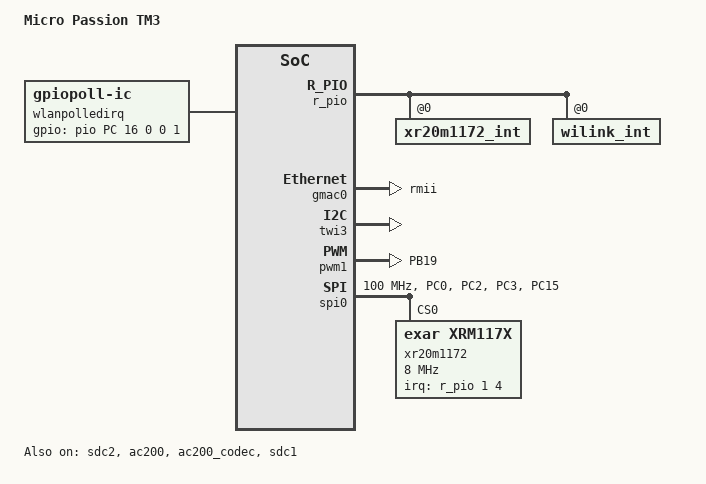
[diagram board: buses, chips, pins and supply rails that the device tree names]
/*
 * Allwinner Technology CO., Ltd. sun50iw6p1 soc board.
 *
 * soc board support.
 */

#include "sun50iw6p1.dtsi"

/ {
	model = "Micro Passion TM3";


	//kim {
	//        compatible = "kim";
	//        nshutdown_gpio = <508>;  // GPIO4_27 The wl8 driver expects gpio to be an integer, so gpio4_27 is (4-1)*32+27=123
	//        dev_name = "/dev/ttyXRM0";
	//        flow_cntrl = <1>;
	//        baud_rate = <3000000>;
	//};

    /* this creates a devce tree entry only for the benefit of Bleutopia stack */
	//tibt {
	//        nshutdown_gpio = <508>;  // GPIO4_27 The wl8 driver expects gpio to be an integer, so gpio4_27 is (4-1)*32+27=123
	//        dev_name = "/dev/ttyXRM0";
	//        flow_cntrl = <1>;
	//        baud_rate = <3000000>;
	//};

	//btwilink {
	//        compatible = "btwilink";
	//};

	/* this creates a devce tree entry only for the benefit of Bleutopia stack */
	//tibt {
	//        nshutdown_gpio = <508>;  // GPIO4_27 The wl8 driver expects gpio to be an integer, so gpio4_27 is (4-1)*32+27=123
	//        dev_name = "/dev/ttyXRM0";
	//        flow_cntrl = <1>;
	//        baud_rate = <3000000>;
	//};

	tm3regulators {
		compatible = "simple-bus";
		#address-cells = <1>;
		#size-cells = <0>;
		
		
		//wlan_en_reg: wlanenreg {
		//	compatible = "regulator-fixed";
		//	reg = <0>;
		//	regulator-name = "wlan-en-regulator";
		//	regulator-min-microvolt = <1800000>;
		//	regulator-max-microvolt = <1800000>;
		//	/* WLAN_EN GPIO for this board - Bank5, pin2 */
		//	//enable-gpio = <&xr20m1172 5 0>;
		//	gpio = <&xr20m1172 5 GPIO_ACTIVE_HIGH>; //XR UART GPIO 5
		//	enable-active-high;
		//};
		
	};

	wlanpolledirq: polledgpioirq 
	{
		compatible = "gpiopoll-ic";
		interrupt-controller;
		#interrupt-cells = <2>;
		gpio = <&pio PC 16 0 0 1 0>;
	};

};

&pio{

	pinctrl-names = "default", "sleep";
	pinctrl-0 = <&pinctrl_hog_hostboard>;
	//pinctrl-1 = <&pinctrl_hog_sleep &pinctrl_hog_hostboard_sleep>;
		
	hog {
		pinctrl_hog: hoggrp {
			
		};

		pinctrl_hog_hostboard: hoggrphostboard {
			
		};

		pinctrl_hog_sleep: hoggrpslp {
			
		};

		pinctrl_hog_hostboard_sleep: hoggrphostboardslp {
			
		};
	};

	pwm1_pins_0: pwm1@0 {
		allwinner,pins = "PB19";
		allwinner,function = "pwm1";
		allwinner,pname = "pwm_positive";
		allwinner,muxsel = <0x2>;
		allwinner,pull = <0x0>;
		allwinner,drive = <0xffffffff>;
		allwinner,data = <0xffffffff>;
	};

	pwm1_pins_1: pwm1@1 {
		allwinner,pins = "PB19";
		allwinner,function = "pwm1";
		allwinner,pname = "pwm_positive";
		allwinner,muxsel = <0x7>;
		allwinner,pull = <0x0>;
		allwinner,drive = <0xffffffff>;
		allwinner,data = <0xffffffff>;
	};

	spi0_pins_a: spi0@0 {
		allwinner,pins = "PC0", "PC2", "PC3";
		allwinner,pname = "spi0_sclk", "spi0_mosi", "spi0_miso";
		allwinner,function = "spi0";
		allwinner,muxsel = <4>;
		allwinner,drive = <1>;
		allwinner,pull = <0>;
	};

	spi0_pins_b: spi0@1 {
		allwinner,pins = "PC15";
		allwinner,pname = "spi0_cs0";
		allwinner,function = "spi0";
		allwinner,muxsel = <0>;
		allwinner,drive = <1>;
		allwinner,pull = <1>;	// only CS should be pulled up
	};

	spi0_pins_c: spi0@2 {
		allwinner,pins = "PC0", "PC2", "PC3", "PC15";
		allwinner,function = "io_disabled";
		allwinner,muxsel = <7>;
		allwinner,drive = <1>;
		allwinner,pull = <0>;
	};

	sdc1_pins_a: sdc1@0 {
		allwinner,pins = "PG0", "PG1", "PG2",
					"PG3", "PG4", "PG5";
		allwinner,function = "sdc1";
		allwinner,muxsel = <2>;
		allwinner,drive = <3>;
		allwinner,pull = <1>;
	};

	sdc1_pins_b: sdc1@1 {
		allwinner,pins = "PG0", "PG1", "PG2",
					"PG3", "PG4", "PG5";
		allwinner,function = "io_disabled";
		allwinner,muxsel = <7>;
		allwinner,drive = <1>;
		allwinner,pull = <1>;
	};
};


&r_pio{
	pinctrl-names = "default", "sleep";
	pinctrl-0 = <&rpio_pinctrl_hog_hostboard>;
	//pinctrl-1 = <&pinctrl_hog_sleep &pinctrl_hog_hostboard_sleep>;
		
	hog {
		rpiopinctrl_hog: rpiohoggrp {
			
		};

		rpio_pinctrl_hog_hostboard: rpiohoggrphostboard {
			
		};

	};
	xr20m1172_int: xr20m1172_int@0 
	{
		allwinner,pins = "PM4";
		allwinner,function = "irq";
		allwinner,muxsel = <0x6>;
		allwinner,drive = <0xffffffff>;
		allwinner,pull = <0xffffffff>;
	};


	wilink_int: wilink_int@0 
	{
		allwinner,pins = "PM3";
		allwinner,function = "irq";
		allwinner,muxsel = <0x6>;
		allwinner,drive = <0xffffffff>;
		allwinner,pull = <0xffffffff>;
	};
	

};



&soc{
	card0_boot_para {
		device_type = "card0_boot_para";
		card_ctrl = <0x0>;
		card_high_speed = <0x1>;
		card_line = <0x4>;
		pinctrl-0 = <&sdc0_pins_a>;
	};


	card2_boot_para {
		device_type = "card2_boot_para";
		card_ctrl = <0x2>;
		card_high_speed = <0x1>;
		card_line = <0x8>;
		pinctrl-0 = <&sdc2_pins_a>;
		sdc_ex_dly_used = <0x2>;
		sdc_io_1v8 = <0x1>;
		sdc_tm4_hs400_max_freq = <0xC8>;
		sdc_tm4_hs200_max_freq = <0x96>;
	};

	product {
		device_type = "product";
		version = "100";
		machine = "petrel-p1";
	};

	platform {
		device_type = "platform";
		eraseflag = <0x1>;
	};

	target {
		device_type = "target";
		boot_clock = <0x528>;
		storage_type = <0xffffffff>;
		burn_key = <0x0>;
		dragonboard_test = <0x0>;
		power_mode = <0x0>;
		advert_enable = <0x0>;
	};

	secure {
		device_type = "secure";
		dram_region_mbytes = <0x50>;
		drm_region_mbytes = <0x0>;
		drm_region_start_mbytes = <0x0>;
	};

	power_sply {
		device_type = "power_sply";
		dcdca_vol = <0xf4628>;
		aldo2_vol = <0xf4f24>;
		cldo2_vol = <0xce4>;
		cldo3_vol = <0xce4>;
		bldo3_vol = <0x3F2>;
		bldo4_vol = <0xf4948>;
	};

	//gpio_bias {
	//		device_type = "gpio_bias";
	//		pc_bias = "axp806:bldo2:1800";
	//		pg_bias = "axp806:bldo3:1100";
	//	};

		ir_boot_recovery {
			device_type = "ir_boot_recovery";
			status = "disabled";
			ir_work_mode = <0x2>;
			ir_press_times = <0x2>;
			ir_detect_time = <0x7d0>;
			ir_key_no_duplicate = <0x0>;
			ir_recovery_key_code0 = <0x4>;
			ir_addr_code0 = <0xff00>;
			ir_recovery_key_code1 = <0x10>;
			ir_addr_code1 = <0xff00>;
		};

		card_boot {
			device_type = "card_boot";
			logical_start = <0xa000>;
			sprite_gpio0 = <0xd6 0xb 0x4 0x1 0xffffffff 0xffffffff 0x1>;
			next_work = <0x3>;
		};

		boot_init_gpio {
			device_type = "boot_init_gpio";
			status = "okay";
			gpio0 = <0xd6 0xb 0x4 0x1 0xffffffff 0xffffffff 0x0>;
			gpio1 = <0xd6 0xb 0x7 0x1 0xffffffff 0xffffffff 0x1>;
			gpio2 = <0x87 0x7 0x2 0x1 0xffffffff 0xffffffff 0x1>;
		};

		pm_para {
			device_type = "pm_para";
			standby_mode = <0x1>;
		};

		twi_para {
			device_type = "twi_para";
			twi_port = <0x0>;
			pinctrl-0 = <&s_twi0_pins_a>;
		};

		uart_para {
			device_type = "uart_para";
			uart_debug_port = <0x0>;
			pinctrl-0 = <&uart0_pins_a>;
		};

		clock {
			device_type = "clock";
			pll4 = <0x12c>;
			pll6 = <0x258>;
			pll8 = <0x168>;
			pll9 = <0x129>;
			pll10 = <0x108>;
		};

		tvout_para {
			device_type = "tvout_para";
			tvout_used;
			tvout_channel_num;
			tv_en;
		};

		tvin_para {
			device_type = "tvin_para";
			tvin_used;
			tvin_channel_num;
		};

		dvfs_table_0 {
			device_type = "dvfs_table_0";
			max_freq = <0x6b49d200>;
			min_freq = <0x1c9c3800>;
			lv_count = <0x8>;
			lv1_freq = <0x6b49d200>;
			lv1_volt = <0x488>;
			lv2_freq = <0x58b11400>;
			lv2_volt = <0x424>;
			lv3_freq = <0x4ead9a00>;
			lv3_volt = <0x3e8>;
			lv4_freq = "@_~";
			lv4_volt = <0x3ac>;
			lv5_freq = <0x34edce00>;
			lv5_volt = <0x370>;
			lv6_freq = <0x0>;
			lv6_volt = <0x370>;
			lv7_freq = <0x0>;
			lv7_volt = <0x370>;
			lv8_freq = <0x0>;
			lv8_volt = <0x370>;
		};

		dvfs_table_1 {
			device_type = "dvfs_table_1";
			max_freq = <0x6b49d200>;
			min_freq = <0x1c9c3800>;
			lv_count = <0x8>;
			lv1_freq = <0x6b49d200>;
			lv1_volt = <0x44c>;
			lv2_freq = <0x58b11400>;
			lv2_volt = <0x3e8>;
			lv3_freq = <0x4ead9a00>;
			lv3_volt = <0x3ac>;
			lv4_freq = "@_~";
			lv4_volt = <0x370>;
			lv5_freq = <0x34edce00>;
			lv5_volt = <0x334>;
			lv6_freq = <0x0>;
			lv6_volt = <0x334>;
			lv7_freq = <0x0>;
			lv7_volt = <0x334>;
			lv8_freq = <0x0>;
			lv8_volt = <0x334>;
		};

		dvfs_table_2 {
			device_type = "dvfs_table_2";
			max_freq = <0x6b49d200>;
			min_freq = <0x1c9c3800>;
			lv_count = <0x8>;
			lv1_freq = <0x6b49d200>;
			lv1_volt = <0x424>;
			lv2_freq = <0x58b11400>;
			lv2_volt = <0x3c0>;
			lv3_freq = <0x4ead9a00>;
			lv3_volt = <0x384>;
			lv4_freq = "@_~";
			lv4_volt = <0x348>;
			lv5_freq = <0x34edce00>;
			lv5_volt = <0x320>;
			lv6_freq = <0x0>;
			lv6_volt = <0x320>;
			lv7_freq = <0x0>;
			lv7_volt = <0x320>;
			lv8_freq = <0x0>;
			lv8_volt = <0x320>;
		};

		s_rsb0 {
			device_type = "s_rsb0";
			status = "disabled";
		};

		box_standby_led {
			device_type = "box_standby_led";
			gpio0 = <0xd6 0xb 0x7 0x1 0xffffffff 0xffffffff 0x1>;
			gpio1 = <0xd6 0xb 0x4 0x1 0xffffffff 0xffffffff 0x0>;
		};

		gpio_power_key {
			device_type = "gpio_power_key";
			compatible = "allwinner,sunxi-gpio-power-key";
			status = "okay";
			key_io = <0xd6 0xc 0x0 0x0 0x1 0xffffffff 0x0>;
			trigger_mode = <0x1>;
		};

		auto_print {
			device_type = "auto_print";
			status = "disabled";
		};
};

&sdc2{
	compatible = "allwinner,sunxi-mmc-v4p6x";
	device_type = "sdc2";
	reg = <0x0 0x04022000 0x0 0x1000>;
	interrupts = <GIC_SPI 37 0x0104>;
	clocks = <&clk_hosc>,
			<&clk_pll_periph1x2>,
			<&clk_sdmmc2_mod>,
			<&clk_sdmmc2_bus>,
			<&clk_sdmmc2_rst>;
	clock-names = "osc24m","pll_periph","mmc","ahb","rst";
	pinctrl-names = "default","sleep";
	pinctrl-0 = <&sdc2_pins_a>;
	pinctrl-1 = <&sdc2_pins_b>;
	bus-width = <8>;
	mmc-ddr-1_8v;
	//mmc-hs200-1_8v;
	//mmc-hs400-1_8v;
	non-removable;
	max-frequency = <100000000>;
	cap-sd-highspeed;
	cap-mmc-highspeed;
	cap-erase;
	mmc-high-capacity-erase-size;
	no-sdio;
	no-sd;
	/*-- speed mode --*/
	/*sm0: DS26_SDR12*/
	/*sm1: HSSDR52_SDR25*/
	/*sm2: HSDDR52_DDR50*/
	/*sm3: HS200_SDR104*/
	/*sm4: HS400*/
	/*-- frequency point --
	/*f0: CLK_400K*/
	/*f1: CLK_25M*/
	/*f2: CLK_50M*/
	/*f3: CLK_100M*/
	/*f4: CLK_150M*/
	/*f5: CLK_200M*/

	sdc_tm4_sm0_freq0 = <0>;
	sdc_tm4_sm0_freq1 = <0>;
	sdc_tm4_sm1_freq0 = <0x00000000>;
	sdc_tm4_sm1_freq1 = <0>;
	sdc_tm4_sm2_freq0 = <0x00000000>;
	sdc_tm4_sm2_freq1 = <0>;
	sdc_tm4_sm3_freq0 = <0x05000000>;
	sdc_tm4_sm3_freq1 = <0x00000005>;
	sdc_tm4_sm4_freq0 = <0x00050000>;
	sdc_tm4_sm4_freq1 = <0x00000004>;

	/*vmmc-supply = <&reg_3p3v>;*/
	/*vqmc-supply = <&reg_3p3v>;*/
	/*vdmc-supply = <&reg_3p3v>;*/
	/*vmmc = "vcc-card";*/
	/*vqmc = "";*/
	/*vdmc = "";*/
	/*sunxi-power-save-mode;*/
	status = "okay";
};

&gmac0{
	compatible = "allwinner,sunxi-gmac";
	reg = <0x0 0x05020000 0x0 0x10000>,
			<0x0 0x03000030 0x0 0x4>;
	interrupts = <GIC_SPI 12 IRQ_TYPE_LEVEL_HIGH>;
	interrupt-names = "gmacirq";
	clocks = <&clk_gmac>;
	clock-names = "gmac";
	pinctrl-0 = <&gmac_pins_a>;
	pinctrl-1 = <&gmac_pins_b>;
	pinctrl-names = "default", "sleep";
	phy-mode = "rmii";
	tx-delay = <0>;
	rx-delay = <0>;
	phy-rst;
	gmac-power1;
	gmac-power2;
	gmac-power0 = "vcc-ephy";
	status = "okay";
	device_type = "gmac0";
};

&ac200 {
	compatible = "allwinner,sunxi-ac200";
	clocks = <&clk_tcon_lcd>;
	pinctrl-names = "active", "sleep", "ccir_clk_active", "ccir_clk_sleep";
	pinctrl-0 = <&ac200_pin_a>;
	pinctrl-1 = <&ac200_pin_b>;
	pinctrl-2 = <&ccir_clk_pin_a>;
	pinctrl-3 = <&ccir_clk_pin_b>;
	status = "okay";
	device_type = "ac200";
	tv_used = <0x1>;
	tv_module_name = "tv_ac200";
	tv_twi_used = <0x1>;
	tv_twi_id = <0x3>;
	tv_twi_addr = <0x10>;
	tv_pwm_ch = <0x1>;
	tv_clk_div = <0x5>;
	tv_regulator_name = "vcc-audio-33";
};

&ac200_codec {
	compatible = "allwinner,ac200_codec";
	status = "okay";
	device_type = "ac200_codec";
	//gpio-spk = <&r_pio PM 1 1 0 1 0>;
};

&twi3
{
	status = "okay";
};

&nand0 {
	status = "disabled";
};

&pwm1
{
	device_type = "pwm1";
	pwm_used = <0x0>;
	pinctrl-0 = <&pwm1_pins_0>;
	pinctrl-1 = <&pwm1_pins_1>;
};

&pmu0
{
	device_type = "pmu0";
	compatible = "axp806";
	pmu_id = <0x3>;
	pmu_irq_wakeup = <0x1>;
	pmu_hot_shutdown = <0x1>;
};

&regulator0{
	device_type = "regulator0";
	compatible = "axp806-regulator";
	regulator_count = <0x10>;
	regulator1 = "axp806_dcdca none vdd-cpua";
	regulator2 = "axp806_dcdcb none";
	regulator3 = "axp806_dcdcc none vdd-gpu";
	regulator4 = "axp806_dcdcd none vdd-sys vdd-hdmi vdd-pcie vdd-usb";
	regulator5 = "axp806_dcdce none vcc-dram";
	regulator6 = "axp806_aldo1 none";
	regulator7 = "axp806_aldo2 none";
	regulator8 = "axp806_aldo3 none";
	regulator9 = "axp806_bldo1 none vcc-pc vcc-emmc-18 vdd-efuse vcc-pcie vcc-hdmi vcc-pl";
	regulator10 = "axp806_bldo2 none vcc-pm";
	regulator11 = "axp806_bldo3 none vdd-dram-18 vdd-bias vcc-pll vcc-io";
	regulator12 = "axp806_bldo4 none";
	regulator13 = "axp806_cldo1 none";
	regulator14 = "axp806_cldo2 none";
	regulator15 = "axp806_cldo3 none";
	regulator16 = "axp806_sw none ac-ldoin vcc-audio-33 vcc-ephy usb-dvdd vcc-tv";
};


&spi0 {
	#address-cells = <1>;
	#size-cells = <0>;
	compatible = "allwinner,sun50i-spi";
	device_type = "spi0";
	reg = <0x0 0x05010000 0x0 0x1000>;
	interrupts = <GIC_SPI 10 IRQ_TYPE_LEVEL_HIGH>;
	clocks = <&clk_pll_periph0>, <&clk_spi0>;
	clock-frequency = <100000000>;
	pinctrl-names = "default", "sleep";
	pinctrl-0 = <&spi0_pins_a &spi0_pins_b>;
	pinctrl-1 = <&spi0_pins_c>;
	spi0_cs_number = <1>;
	spi0_cs_bitmap = <1>;
	chipselect-gpios = <&pio PC 15 0 0 0 0xffffffff>;
	usegpiocs = <1>;
	status = "okay";

	xr20m1172: xr20m1172uartgpio {
			compatible = "exar,xrm117x";
			clocks = <&clk_dcxo_out>, <&clk_losc_out>;
			clock-names = "clock24mhz", "clock32khz";
			interrupt-parent = <&r_pio>;
			interrupts = <1 4 0>; /* PM4 */
			pinctrl-names = "default";
			pinctrl-0 = <&xr20m1172_int>;
			spi-max-frequency = <8000000>;
			reg = <0>;
			gpio-controller;
			#gpio-cells = <2>;
			//interrupt-controller;
			//#interrupt-cells = <2>;
			status = "okay";
	};
};


&sdc1{
	compatible = "allwinner,sunxi-mmc-v4p1x";
	device_type = "sdc1";
	reg = <0x0 0x04021000 0x0 0x1000>;
	interrupts = <GIC_SPI 36 0x0104>;
	clocks = <&clk_hosc>,
			<&clk_pll_periph1x2>,
			<&clk_sdmmc1_mod>,
			<&clk_sdmmc1_bus>,
			<&clk_sdmmc1_rst>;
	clock-names = "osc24m","pll_periph","mmc","ahb","rst";
	pinctrl-names = "default","sleep";
	pinctrl-0 = <&sdc1_pins_a>;
	pinctrl-1 = <&sdc1_pins_b>;
	max-frequency = <50000000>;
	bus-width = <4>;
	non-removable; 
	cap-power-off-card;
	/*broken-cd;*/
	/*cd-inverted*/
	/*cd-gpios = <&pio PG 6 6 1 2 0>;*/
	/*vdmmc18sw-supply = <&wlan_en_reg>;*/
	/* vqmc-supply = <&reg_3p3v>;*/
	/* vdmc-supply = <&reg_3p3v>;*/
	/*vdmmc18sw = "wlan-en-regulator";*/
	card-pwr-gpios=<&xr20m1172 5 GPIO_ACTIVE_HIGH>;
	/*vqmc = "";*/
	/*vdmc = "";*/
	cap-sd-highspeed;
	cap-mmc-highspeed;
	no-mmc;
	ctl-spec-caps = <4>; 
	/*sd-uhs-sdr50;*/
	/*sd-uhs-ddr50;*/
	/*sd-uhs-sdr104;*/
	/*cap-sdio-irq;*/
	/*keep-power-in-suspend;*/
	/*ignore-pm-notify;*/
	/*sunxi-power-save-mode;*/
	/*sunxi-dly-400k = <1 0 0 0 0>; */
	/*sunxi-dly-26M  = <1 0 0 0 0>;*/
	/*sunxi-dly-52M  = <1 0 0 0 0>;*/
	sunxi-dly-52M-ddr4  = <1 0 0 0 2>;
	/*sunxi-dly-52M-ddr8  = <1 0 0 0 0>;*/
	sunxi-dly-104M  = <1 0 0 0 1>;
	/*sunxi-dly-208M  = <1 1 0 0 0>;*/
	sunxi-dly-208M  = <1 0 0 0 1>;
	/*sunxi-dly-104M-ddr  = <1 0 0 0 0>;*/
	/*sunxi-dly-208M-ddr  = <1 0 0 0 0>;*/

	status = "okay";

	#address-cells = <1>;
	#size-cells = <0>;
	wlcore: wlcore {
		compatible = "ti,wlcore", "wlcore", "ti,wl1831";
		reg = <0x02>;
		//interrupt-parent = <&r_pio>;
		//interrupts = <1 3 0>; /* PM4 */

		//pinctrl-names = "default";
		//pinctrl-0 = <&wilink_int>;

		

		interrupt-parent = <&wlanpolledirq>;
		interrupts = <0 IRQ_TYPE_LEVEL_HIGH>; /* gpio7 */

		//interrupt-parent = <&xr20m1172>;
		//interrupts = <6 IRQ_TYPE_EDGE_RISING>; /* gpio7 */
		//status = "okay";
	};


};

